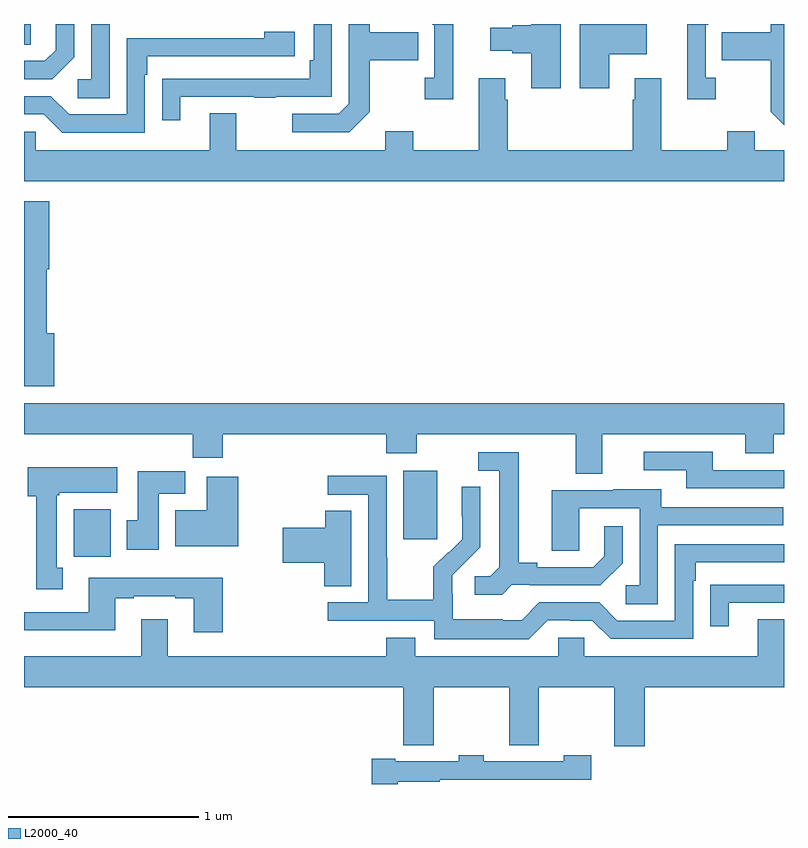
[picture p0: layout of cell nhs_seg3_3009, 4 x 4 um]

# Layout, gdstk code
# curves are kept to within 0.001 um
import gdstk
lib = gdstk.Library(unit=1e-6, precision=1e-09)
def R(c, l, rs):  # rectangles x0, y0, x1, y1
    for r in rs: c.add(gdstk.rectangle(r[:2], r[2:], *l))
def P(c, l, *ps):  # polygons
    for p in ps: c.add(gdstk.Polygon(p, *l))
L2000_40 = (2000, 40)

nhs_seg3_3009 = lib.new_cell('nhs_seg3_3009')
R(nhs_seg3_3009, L2000_40, [(267.261,709.596,267.457,709.846), (268.997,709.689,269.176,710.05), (267,712.291,267.036,712.4)])
P(nhs_seg3_3009, L2000_40, [(270.079,712.241),(270.277,712.241),(270.277,712.399),(270.079,712.399),(270.079,712.4),(269.924,712.4),(269.924,712.062),(270.079,712.062)],
  [(267.45,712.4),(267.354,712.4),(267.354,712.11),(267.282,712.11),(267.282,712.009),(267.45,712.009)],
  [(269.258,712.4),(269.148,712.4),(269.148,712.397),(269.16,712.397),(269.16,712.118),(269.109,712.118),(269.109,712.005),(269.258,712.005)],
  [(270.64,712.118),(270.588,712.118),(270.588,712.397),(270.601,712.397),(270.601,712.4),(270.491,712.4),(270.491,712.005),(270.64,712.005)],
  [(269.824,712.4),(269.669,712.4),(269.669,712.394),(269.57,712.394),(269.57,712.381),(269.454,712.381),(269.454,712.259),(269.57,712.259),(269.57,712.247),(269.669,712.247),(269.669,712.062),(269.824,712.062)],
  [(267.264,712.226),(267.264,712.4),(267.167,712.4),(267.167,712.263),(267.11,712.206),(267,712.206),(267,712.11),(267.148,712.11)],
  [(268.819,711.937),(268.819,712.21),(269.075,712.21),(269.075,712.357),(268.819,712.357),(268.819,712.4),(268.71,712.4),(268.71,711.981),(268.656,711.927),(268.413,711.927),(268.413,711.831),(268.713,711.831)],
  [(271,712.4),(270.93,712.4),(270.93,712.357),(270.673,712.357),(270.673,712.21),(270.93,712.21),(270.93,711.937),(271,711.866)],
  [(267.823,712.017),(268.213,712.017),(268.213,712.012),(268.325,712.012),(268.325,712.017),(268.62,712.017),(268.62,712.4),(268.524,712.4),(268.524,712.21),(268.504,712.21),(268.504,712.113),(267.829,712.113),(267.829,712.112),(267.727,712.112),(267.727,711.894),(267.823,711.894)],
  [(267.636,712.133),(267.649,712.133),(267.649,712.23),(268.426,712.23),(268.426,712.36),(268.265,712.36),(268.265,712.326),(267.54,712.326),(267.54,711.924),(267.237,711.924),(267.141,712.02),(267,712.02),(267,711.924),(267.105,711.924),(267.201,711.828),(267.636,711.828)],
  [(271,711.736),(270.847,711.736),(270.847,711.835),(270.7,711.835),(270.7,711.736),(270.355,711.736),(270.355,712.114),(270.215,712.114),(270.215,712.001),(270.203,712.001),(270.203,711.736),(269.546,711.736),(269.546,712.001),(269.533,712.001),(269.533,712.114),(269.393,712.114),(269.393,711.736),(269.049,711.736),(269.049,711.835),(268.901,711.835),(268.901,711.736),(268.117,711.736),(268.117,711.931),(267.977,711.931),(267.977,711.736),(267.063,711.736),(267.063,711.834),(267,711.834),(267,711.572),(271,711.572)],
  [(267.158,710.772),(267.121,710.772),(267.121,711.11),(267.134,711.11),(267.134,711.466),(267,711.466),(267,710.493),(267.158,710.493)],
  [(270.043,710.24),(270.797,710.24),(270.797,710.141),(270.945,710.141),(270.945,710.24),(271,710.24),(271,710.404),(267,710.404),(267,710.24),(267.889,710.24),(267.889,710.116),(268.046,710.116),(268.046,710.24),(268.907,710.24),(268.907,710.141),(269.067,710.141),(269.067,710.24),(269.903,710.24),(269.903,710.032),(270.043,710.032)],
  [(271,710.052),(270.625,710.052),(270.625,710.148),(270.261,710.148),(270.261,710.052),(270.485,710.052),(270.485,709.956),(271,709.956)],
  [(269.568,709.449),(269.662,709.449),(269.662,709.446),(270.034,709.446),(270.15,709.562),(270.15,709.756),(270.053,709.756),(270.053,709.599),(269.996,709.542),(269.701,709.542),(269.701,709.565),(269.605,709.565),(269.605,710.145),(269.391,710.145),(269.391,710.049),(269.501,710.049),(269.501,709.541),(269.454,709.494),(269.373,709.494),(269.373,709.397),(269.516,709.397)],
  [(267.205,709.537),(267.172,709.537),(267.172,709.921),(267.186,709.921),(267.186,709.934),(267.49,709.934),(267.49,710.068),(267.02,710.068),(267.02,709.914),(267.065,709.914),(267.065,709.425),(267.205,709.425)],
  [(267.709,709.928),(267.848,709.928),(267.848,710.047),(267.599,710.047),(267.599,709.788),(267.542,709.788),(267.542,709.632),(267.709,709.632)],
  [(269.757,709.263),(269.873,709.263),(269.873,709.26),(269.991,709.26),(270.087,709.164),(270.522,709.164),(270.522,709.469),(270.535,709.469),(270.535,709.566),(271,709.566),(271,709.662),(270.426,709.662),(270.426,709.26),(270.123,709.26),(270.027,709.356),(269.712,709.356),(269.619,709.263),(269.519,709.263),(269.519,709.267),(269.256,709.267),(269.256,709.401),(269.254,709.401),(269.254,709.498),(269.4,709.646),(269.4,709.964),(269.304,709.964),(269.304,709.81),(269.306,709.81),(269.306,709.688),(269.235,709.617),(269.232,709.62),(269.155,709.543),(269.155,709.369),(268.911,709.369),(268.911,709.592),(268.908,709.592),(268.908,710.022),(268.599,710.022),(268.599,709.923),(268.812,709.923),(268.812,709.356),(268.599,709.356),(268.599,709.26),(269.16,709.26),(269.16,709.163),(269.657,709.163)],
  [(268.128,710.017),(267.962,710.017),(267.962,709.84),(267.797,709.84),(267.797,709.652),(268.128,709.652)],
  [(270.336,709.761),(270.995,709.761),(270.995,709.857),(270.355,709.857),(270.355,709.951),(270.101,709.951),(270.101,709.947),(269.777,709.947),(269.777,709.627),(269.922,709.627),(269.922,709.851),(270.24,709.851),(270.24,709.446),(270.168,709.446),(270.168,709.345),(270.336,709.345)],
  [(268.723,709.838),(268.585,709.838),(268.585,709.748),(268.362,709.748),(268.362,709.565),(268.58,709.565),(268.58,709.441),(268.723,709.441)],
  [(268.046,709.486),(267.341,709.486),(267.341,709.305),(267,709.305),(267,709.208),(267.481,709.208),(267.481,709.377),(267.577,709.377),(267.577,709.389),(267.797,709.389),(267.797,709.377),(267.893,709.377),(267.893,709.2),(268.046,709.2)],
  [(270.709,709.353),(271,709.353),(271,709.449),(270.715,709.449),(270.715,709.448),(270.613,709.448),(270.613,709.23),(270.709,709.23)],
  [(270.266,708.908),(271,708.908),(271,709.267),(270.863,709.267),(270.863,709.072),(269.949,709.072),(269.949,709.17),(269.811,709.17),(269.811,709.072),(269.059,709.072),(269.059,709.171),(268.907,709.171),(268.907,709.072),(267.757,709.072),(267.757,709.267),(267.617,709.267),(267.617,709.072),(267,709.072),(267,708.908),(268.997,708.908),(268.997,708.604),(269.156,708.604),(269.156,708.908),(269.554,708.908),(269.554,708.604),(269.708,708.604),(269.708,708.908),(270.106,708.908),(270.106,708.6),(270.266,708.6)],
  [(268.967,708.411),(269.189,708.411),(269.189,708.423),(269.986,708.423),(269.986,708.552),(269.841,708.552),(269.841,708.519),(269.421,708.519),(269.421,708.552),(269.289,708.552),(269.289,708.519),(268.954,708.519),(268.954,708.532),(268.831,708.532),(268.831,708.4),(268.967,708.4)])

lib.write_gds('nhs_seg3_3009.gds')
